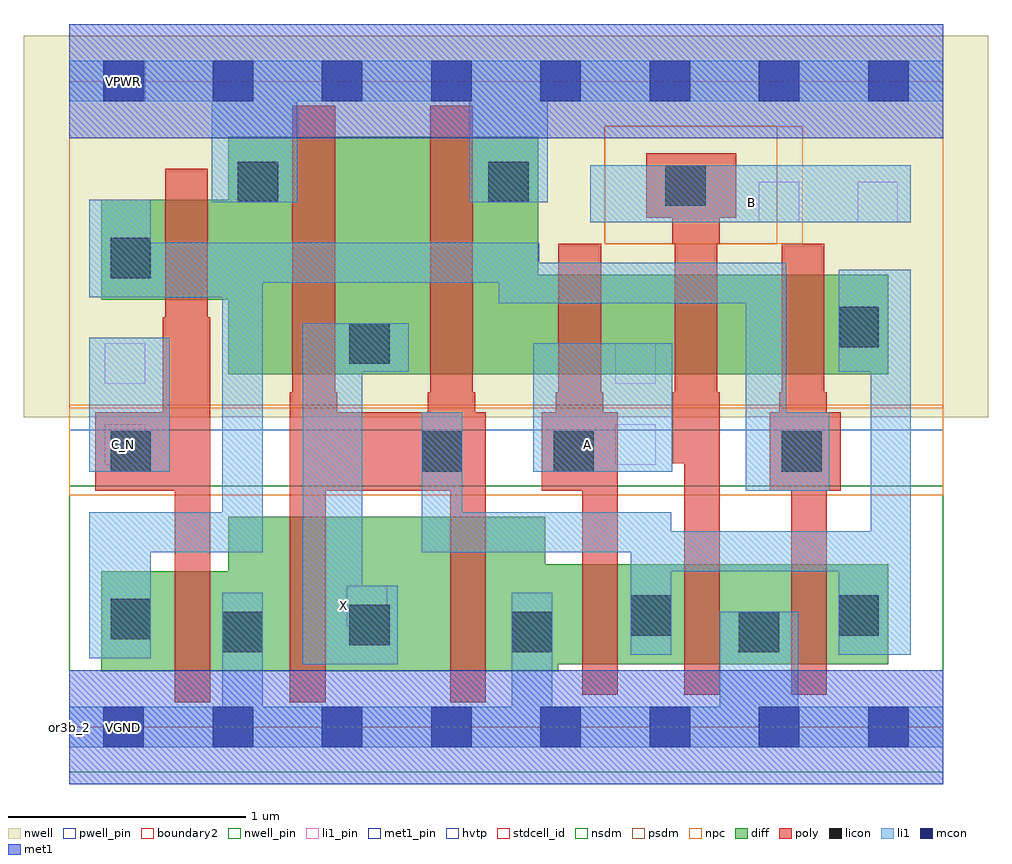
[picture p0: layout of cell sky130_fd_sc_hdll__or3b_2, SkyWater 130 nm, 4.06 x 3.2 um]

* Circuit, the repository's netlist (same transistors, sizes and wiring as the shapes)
* Copyright 2020 The SkyWater PDK Authors
*
* Licensed under the Apache License, Version 2.0 (the "License");
* you may not use this file except in compliance with the License.
* You may obtain a copy of the License at
*
*     https://www.apache.org/licenses/LICENSE-2.0
*
* Unless required by applicable law or agreed to in writing, software
* distributed under the License is distributed on an "AS IS" BASIS,
* WITHOUT WARRANTIES OR CONDITIONS OF ANY KIND, either express or implied.
* See the License for the specific language governing permissions and
* limitations under the License.
*
* SPDX-License-Identifier: Apache-2.0

.SUBCKT sky130_fd_sc_hdll__or3b_2 A B C_N VGND VNB VPB VPWR X
*.PININFO A:I B:I C_N:I VGND:I VNB:I VPB:I VPWR:I X:O
MMP0 VPWR A sndPA VPB sky130_fd_pr__pfet_01v8_hvt m=1 w=0.42U l=0.18U mult=1 sa=0.265
+ sb=0.265 sd=0.28 area=0.063 perim=1.14
MMP1 sndPA B sndPB VPB sky130_fd_pr__pfet_01v8_hvt m=1 w=0.42U l=0.18U mult=1 sa=0.265
+ sb=0.265 sd=0.28 area=0.063 perim=1.14
MMP2 sndPB C y VPB sky130_fd_pr__pfet_01v8_hvt m=1 w=0.42U l=0.18U mult=1 sa=0.265
+ sb=0.265 sd=0.28 area=0.063 perim=1.14
MMIP2 C C_N VPWR VPB sky130_fd_pr__pfet_01v8_hvt m=1 w=0.42U l=0.18U mult=1 sa=0.265
+ sb=0.265 sd=0.28 area=0.063 perim=1.14
MMIP3 X y VPWR VPB sky130_fd_pr__pfet_01v8_hvt m=2 w=1.0U l=0.18U mult=1 sa=0.265
+ sb=0.265 sd=0.28 area=0.063 perim=1.14
MMN0 y A VGND VNB sky130_fd_pr__nfet_01v8 m=1 w=0.42U l=0.15U mult=1 sa=0.265 sb=0.265
+ sd=0.28 area=0.063 perim=1.14
MMN1 y B VGND VNB sky130_fd_pr__nfet_01v8 m=1 w=0.42U l=0.15U mult=1 sa=0.265 sb=0.265
+ sd=0.28 area=0.063 perim=1.14
MMN2 y C VGND VNB sky130_fd_pr__nfet_01v8 m=1 w=0.42U l=0.15U mult=1 sa=0.265 sb=0.265
+ sd=0.28 area=0.063 perim=1.14
MMIN2 C C_N VGND VNB sky130_fd_pr__nfet_01v8 m=1 w=0.42U l=0.15U mult=1 sa=0.265
+ sb=0.265 sd=0.28 area=0.063 perim=1.14
MMIN3 X y VGND VNB sky130_fd_pr__nfet_01v8 m=2 w=0.65U l=0.15U mult=1 sa=0.265
+ sb=0.265 sd=0.28 area=0.063 perim=1.14
.ENDS sky130_fd_sc_hdll__or3b_2

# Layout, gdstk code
import gdstk
lib = gdstk.Library(unit=1e-6, precision=1e-09)
def R(c, l, rs):  # rectangles x0, y0, x1, y1
    for r in rs: c.add(gdstk.rectangle(r[:2], r[2:], *l))
def A(c, l, x, y, w, h, nx, ny, dx, dy):  # array of equal rectangles
    R(c, l, [(x+i*dx, y+j*dy, x+i*dx+w, y+j*dy+h) for i in range(nx) for j in range(ny)])
def P(c, l, *ps):  # polygons
    for p in ps: c.add(gdstk.Polygon(p, *l))
nwell_pin = (64, 16)
nwell = (64, 20)
diff = (65, 20)
poly = (66, 20)
licon = (66, 44)
li1_pin = (67, 16)
li1 = (67, 20)
mcon = (67, 44)
met1_pin = (68, 16)
met1 = (68, 20)
hvtp = (78, 44)
stdcell_id = (81, 4)
nsdm = (93, 44)
psdm = (94, 20)
npc = (95, 20)
pwell_pin = (122, 16)
boundary2 = (236, 0)

sky130_fd_sc_hdll__or3b_ = lib.new_cell('sky130_fd_sc_hdll__or3b_2')
R(sky130_fd_sc_hdll__or3b_, nwell_pin, [(0.15,2.635,0.32,2.805)])
R(sky130_fd_sc_hdll__or3b_, nwell, [(-0.19,1.305,3.87,2.91)])
P(sky130_fd_sc_hdll__or3b_, diff, [(3.45,0.685),(2.005,0.685),(2.005,0.885),(0.67,0.885),(0.67,0.655),(0.135,0.655),(0.135,0.235),(2.06,0.235),(2.06,0.265),(3.45,0.265)],
  [(3.45,1.905),(1.975,1.905),(1.975,2.485),(0.67,2.485),(0.67,2.22),(0.135,2.22),(0.135,1.8),(0.67,1.8),(0.67,1.485),(3.45,1.485)])
P(sky130_fd_sc_hdll__or3b_, poly, [(0.595,1.725),(0.585,1.725),(0.585,2.35),(0.405,2.35),(0.405,1.725),(0.395,1.725),(0.395,1.325),(0.11,1.325),(0.11,0.995),(0.445,0.995),(0.445,0.105),(0.595,0.105)],
  [(1.755,1.325),(1.71,1.325),(1.71,1.41),(1.7,1.41),(1.7,2.615),(1.52,2.615),(1.52,1.41),(1.51,1.41),(1.51,1.325),(1.13,1.325),(1.13,1.41),(1.12,1.41),(1.12,2.615),(0.94,2.615),(0.94,1.41),(0.93,1.41),(0.93,0.105),(1.08,0.105),(1.08,0.995),(1.605,0.995),(1.605,0.105),(1.755,0.105)],
  [(2.31,1.325),(2.25,1.325),(2.25,1.41),(2.24,1.41),(2.24,2.035),(2.06,2.035),(2.06,1.41),(2.05,1.41),(2.05,1.325),(1.99,1.325),(1.99,0.995),(2.16,0.995),(2.16,0.135),(2.31,0.135)],
  [(2.81,2.415),(2.43,2.415),(2.43,2.145),(2.54,2.145),(2.54,2.035),(2.55,2.035),(2.55,1.41),(2.54,1.41),(2.54,1.11),(2.59,1.11),(2.59,0.135),(2.74,0.135),(2.74,1.41),(2.73,1.41),(2.73,2.035),(2.74,2.035),(2.74,2.145),(2.81,2.145)],
  [(3.25,1.325),(3.19,1.325),(3.19,1.41),(3.18,1.41),(3.18,2.035),(3,2.035),(3,1.41),(2.99,1.41),(2.99,1.325),(2.95,1.325),(2.95,0.995),(3.04,0.995),(3.04,0.135),(3.19,0.135),(3.19,0.995),(3.25,0.995)])
R(sky130_fd_sc_hdll__or3b_, licon, [(0.645,0.315,0.815,0.485), (1.865,0.315,2.035,0.485), (2.82,0.315,2.99,0.485), (1.18,0.345,1.35,0.515), (0.175,0.37,0.345,0.54), (2.365,0.385,2.535,0.555), (3.24,0.385,3.41,0.555), (0.175,1.075,0.345,1.245), (1.485,1.075,1.655,1.245), (2.04,1.075,2.21,1.245), (3,1.075,3.17,1.245), (1.18,1.53,1.35,1.7), (3.24,1.6,3.41,1.77), (0.175,1.89,0.345,2.06), (2.51,2.195,2.68,2.365), (0.71,2.21,0.88,2.38), (1.765,2.21,1.935,2.38)])
R(sky130_fd_sc_hdll__or3b_, li1_pin, [(1.17,0.425,1.34,0.595), (0.15,1.105,0.32,1.275), (2.3,1.105,2.47,1.275), (0.15,1.445,0.32,1.615), (2.3,1.445,2.47,1.615), (2.905,2.125,3.075,2.295), (3.32,2.125,3.49,2.295)])
R(sky130_fd_sc_hdll__or3b_, li1, [(0.085,1.075,0.425,1.64), (1.955,1.075,2.54,1.615), (2.195,2.125,3.545,2.365)])
P(sky130_fd_sc_hdll__or3b_, li1, [(3.68,0.085),(3.07,0.085),(3.07,0.485),(2.74,0.485),(2.74,0.085),(2.035,0.085),(2.035,0.565),(1.865,0.565),(1.865,0.085),(0.815,0.085),(0.815,0.565),(0.645,0.565),(0.645,0.085),(0,0.085),(0,-0.085),(3.68,-0.085)],
  [(3.2,1.325),(3.02,1.325),(3.02,1.955),(1.98,1.955),(1.98,2.04),(0.345,2.04),(0.345,2.22),(0.085,2.22),(0.085,1.81),(0.645,1.81),(0.645,0.905),(0.085,0.905),(0.085,0.29),(0.345,0.29),(0.345,0.735),(0.815,0.735),(0.815,1.87),(1.81,1.87),(1.81,1.785),(2.85,1.785),(2.85,0.995),(3.2,0.995)],
  [(3.68,2.805),(0,2.805),(0,2.635),(0.6,2.635),(0.6,2.21),(0.96,2.21),(0.96,2.635),(1.685,2.635),(1.685,2.21),(2.015,2.21),(2.015,2.635),(3.68,2.635)],
  [(3.545,1.925),(3.24,1.925),(3.24,1.495),(3.375,1.495),(3.375,0.825),(2.535,0.825),(2.535,0.905),(1.655,0.905),(1.655,1.325),(1.485,1.325),(1.485,0.735),(2.365,0.735),(2.365,0.305),(2.535,0.305),(2.535,0.655),(3.24,0.655),(3.24,0.305),(3.545,0.305)],
  [(1.43,1.7),(0.985,1.7),(0.985,0.265),(1.385,0.265),(1.385,0.595),(1.235,0.595),(1.235,1.495),(1.43,1.495)])
A(sky130_fd_sc_hdll__or3b_, mcon, 0.145, -0.085, 0.17, 0.17, 8, 2, 0.46, 2.72)
R(sky130_fd_sc_hdll__or3b_, met1_pin, [(0.145,-0.085,0.315,0.085), (0.15,2.635,0.32,2.805)])
R(sky130_fd_sc_hdll__or3b_, met1, [(0,-0.24,3.68,0.24), (0,2.48,3.68,2.96)])
R(sky130_fd_sc_hdll__or3b_, hvtp, [(0,1.25,3.68,2.72)])
R(sky130_fd_sc_hdll__or3b_, stdcell_id, [(0,0,3.68,2.72)])
R(sky130_fd_sc_hdll__or3b_, nsdm, [(0,-0.19,3.68,1.015)])
P(sky130_fd_sc_hdll__or3b_, psdm, [(3.68,2.91),(2.98,2.91),(2.98,2.035),(2.255,2.035),(2.255,2.53),(2.98,2.53),(2.98,2.91),(0,2.91),(0,1.355),(3.68,1.355)])
R(sky130_fd_sc_hdll__or3b_, npc, [(0,0.975,3.68,1.345), (2.255,2.035,3.09,2.53)])
R(sky130_fd_sc_hdll__or3b_, pwell_pin, [(0.145,-0.085,0.315,0.085)])
R(sky130_fd_sc_hdll__or3b_, boundary2, [(0,0,3.68,2.72)])
sky130_fd_sc_hdll__or3b_.add(gdstk.Label('A', (2.185,1.19), layer=67, texttype=5))
sky130_fd_sc_hdll__or3b_.add(gdstk.Label('B', (2.875,2.21), layer=67, texttype=5))
sky130_fd_sc_hdll__or3b_.add(gdstk.Label('C_N', (0.23,1.19), layer=67, texttype=5))
sky130_fd_sc_hdll__or3b_.add(gdstk.Label('X', (1.155,0.51), layer=67, texttype=5))
sky130_fd_sc_hdll__or3b_.add(gdstk.Label('VPWR', (0.23,2.72), layer=68, texttype=5))
sky130_fd_sc_hdll__or3b_.add(gdstk.Label('VGND', (0.23,0), layer=68, texttype=5))
sky130_fd_sc_hdll__or3b_.add(gdstk.Label('VPB', (0.235,2.72), layer=64, texttype=5))
sky130_fd_sc_hdll__or3b_.add(gdstk.Label('VNB', (0.23,0), layer=64, texttype=59))
sky130_fd_sc_hdll__or3b_.add(gdstk.Label('or3b_2', (0,0), layer=83, texttype=44))

lib.write_gds('sky130_fd_sc_hdll__or3b_2.gds')
